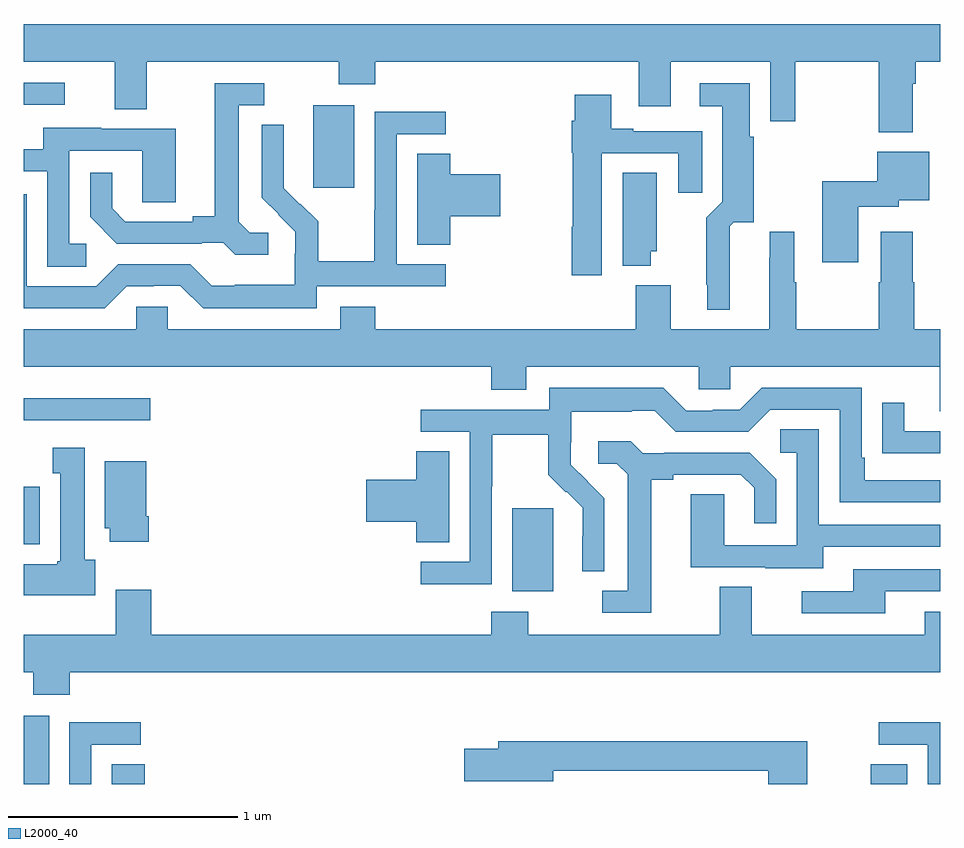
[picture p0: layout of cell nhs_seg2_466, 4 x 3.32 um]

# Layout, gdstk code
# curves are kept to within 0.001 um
import gdstk
lib = gdstk.Library(unit=1e-6, precision=1e-09)
def R(c, l, rs):  # rectangles x0, y0, x1, y1
    for r in rs: c.add(gdstk.rectangle(r[:2], r[2:], *l))
def P(c, l, *ps):  # polygons
    for p in ps: c.add(gdstk.Polygon(p, *l))
L2000_40 = (2000, 40)

nhs_seg2_466 = lib.new_cell('nhs_seg2_466')
R(nhs_seg2_466, L2000_40, [(133,661.8,133.111,662.098), (133.385,661.8,133.529,661.886), (136.697,661.8,136.855,661.886), (135.131,662.642,135.31,663.003), (133,662.846,133.071,663.097), (133,663.387,133.552,663.484), (134.264,664.401,134.443,664.762), (133,664.764,133.18,664.86)])
P(nhs_seg2_466, L2000_40, [(136.879,664.856),(136.892,664.856),(136.892,664.952),(137,664.952),(137,665.116),(133,665.116),(133,664.952),(133.397,664.952),(133.397,664.744),(133.537,664.744),(133.537,664.952),(134.374,664.952),(134.374,664.853),(134.534,664.853),(134.534,664.952),(135.683,664.952),(135.683,664.758),(135.823,664.758),(135.823,664.952),(136.257,664.952),(136.257,664.692),(136.366,664.692),(136.366,664.952),(136.732,664.952),(136.732,664.643),(136.879,664.643)],
  [(136.081,664.234),(136.098,664.251),(136.185,664.251),(136.186,664.623),(136.168,664.623),(136.168,664.858),(135.951,664.858),(135.951,664.757),(136.049,664.757),(136.049,664.34),(135.979,664.27),(135.979,663.979),(135.983,663.979),(135.983,663.869),(136.081,663.869)],
  [(134.068,664.206),(133.986,664.206),(133.939,664.253),(133.939,664.761),(134.05,664.761),(134.05,664.857),(133.835,664.857),(133.835,664.277),(133.739,664.277),(133.739,664.254),(133.444,664.254),(133.387,664.311),(133.387,664.468),(133.29,664.468),(133.29,664.274),(133.406,664.158),(133.778,664.158),(133.778,664.161),(133.872,664.161),(133.924,664.109),(134.068,664.109)],
  [(135.523,664.551),(135.857,664.551),(135.857,664.38),(135.961,664.38),(135.961,664.647),(135.661,664.647),(135.661,664.66),(135.565,664.66),(135.565,664.807),(135.404,664.807),(135.404,664.694),(135.392,664.694),(135.392,664.554),(135.397,664.554),(135.397,664.232),(135.392,664.232),(135.392,664.02),(135.523,664.02)],
  [(134.28,663.972),(134.842,663.972),(134.842,664.068),(134.628,664.068),(134.628,664.635),(134.842,664.635),(134.842,664.734),(134.532,664.734),(134.532,664.304),(134.53,664.304),(134.53,664.081),(134.285,664.081),(134.285,664.255),(134.208,664.332),(134.205,664.329),(134.135,664.4),(134.136,664.676),(134.04,664.676),(134.04,664.358),(134.186,664.21),(134.186,664.113),(134.184,664.113),(134.184,663.979),(133.921,663.979),(133.921,663.975),(133.821,663.975),(133.728,664.068),(133.413,664.068),(133.317,663.972),(133.014,663.972),(133.014,664.374),(133,664.374),(133,663.876),(133.353,663.876),(133.449,663.972),(133.568,663.972),(133.568,663.975),(133.683,663.975),(133.783,663.875),(134.28,663.875)],
  [(133.273,664.158),(133.2,664.158),(133.2,664.563),(133.518,664.563),(133.518,664.339),(133.663,664.339),(133.663,664.659),(133.339,664.659),(133.339,664.663),(133.085,664.663),(133.085,664.569),(133,664.569),(133,664.473),(133.104,664.473),(133.104,664.057),(133.273,664.057)],
  [(136.642,664.319),(136.818,664.319),(136.818,664.346),(136.951,664.346),(136.951,664.558),(136.724,664.558),(136.724,664.429),(136.484,664.429),(136.484,664.077),(136.642,664.077)],
  [(134.861,664.277),(135.079,664.277),(135.079,664.46),(134.861,664.46),(134.861,664.55),(134.717,664.55),(134.717,664.153),(134.861,664.153)],
  [(135.736,664.125),(135.763,664.125),(135.763,664.466),(135.614,664.466),(135.614,664.061),(135.736,664.061)],
  [(137,663.784),(136.887,663.784),(136.887,663.989),(136.879,663.989),(136.879,664.21),(136.739,664.21),(136.739,663.989),(136.732,663.989),(136.732,663.784),(136.371,663.784),(136.371,663.989),(136.363,663.989),(136.363,664.21),(136.255,664.21),(136.255,664.097),(136.253,664.097),(136.253,663.784),(135.823,663.784),(135.823,663.976),(135.671,663.976),(135.671,663.784),(134.534,663.784),(134.534,663.883),(134.381,663.883),(134.381,663.784),(133.629,663.784),(133.629,663.882),(133.491,663.882),(133.491,663.784),(133,663.784),(133,663.62),(135.041,663.62),(135.041,663.521),(135.193,663.521),(135.193,663.62),(135.945,663.62),(135.945,663.522),(136.083,663.522),(136.083,663.62),(136.997,663.62),(136.997,663.426),(137,663.426)],
  [(135.042,663.1),(135.045,663.1),(135.045,663.324),(135.289,663.324),(135.289,663.149),(135.366,663.072),(135.369,663.075),(135.44,663.005),(135.44,662.882),(135.438,662.882),(135.438,662.728),(135.534,662.728),(135.534,663.046),(135.388,663.194),(135.388,663.291),(135.39,663.291),(135.39,663.425),(135.653,663.425),(135.653,663.429),(135.753,663.429),(135.846,663.336),(136.161,663.336),(136.257,663.432),(136.56,663.432),(136.56,663.03),(137,663.03),(137,663.126),(136.669,663.126),(136.669,663.223),(136.656,663.223),(136.656,663.528),(136.221,663.528),(136.125,663.432),(136.007,663.432),(136.007,663.429),(135.891,663.429),(135.791,663.529),(135.294,663.529),(135.294,663.432),(134.733,663.432),(134.733,663.336),(134.946,663.336),(134.946,662.769),(134.733,662.769),(134.733,662.671),(135.042,662.671)],
  [(137,663.339),(136.843,663.339),(136.843,663.463),(136.747,663.463),(136.747,663.244),(136.849,663.244),(136.849,663.243),(137,663.243)],
  [(136.489,662.835),(137,662.835),(137,662.931),(136.47,662.931),(136.47,663.347),(136.302,663.347),(136.302,663.246),(136.374,663.246),(136.374,662.841),(136.056,662.841),(136.056,663.065),(135.911,663.065),(135.911,662.745),(136.235,662.745),(136.235,662.741),(136.489,662.741)],
  [(135.739,663.128),(135.835,663.128),(135.835,663.15),(136.13,663.15),(136.187,663.093),(136.187,662.937),(136.284,662.937),(136.284,663.13),(136.168,663.246),(135.796,663.246),(135.796,663.243),(135.702,663.243),(135.65,663.295),(135.507,663.295),(135.507,663.198),(135.588,663.198),(135.635,663.151),(135.635,662.643),(135.525,662.643),(135.525,662.547),(135.739,662.547)],
  [(133.312,662.778),(133.267,662.778),(133.267,663.268),(133.127,663.268),(133.127,663.155),(133.16,663.155),(133.16,662.772),(133.147,662.772),(133.147,662.758),(133,662.758),(133,662.624),(133.312,662.624)],
  [(134.857,663.251),(134.714,663.251),(134.714,663.128),(134.496,663.128),(134.496,662.945),(134.714,662.945),(134.714,662.854),(134.857,662.854)],
  [(133.547,662.968),(133.534,662.968),(133.534,663.208),(133.355,663.208),(133.355,662.916),(133.376,662.916),(133.376,662.856),(133.547,662.856)],
  [(136.759,662.64),(137,662.64),(137,662.736),(136.619,662.736),(136.619,662.64),(136.395,662.64),(136.395,662.544),(136.759,662.544)],
  [(133.202,662.288),(137,662.288),(137,662.551),(136.931,662.551),(136.931,662.452),(136.177,662.452),(136.177,662.66),(136.037,662.66),(136.037,662.452),(135.201,662.452),(135.201,662.551),(135.041,662.551),(135.041,662.452),(133.556,662.452),(133.556,662.647),(133.403,662.647),(133.403,662.452),(133,662.452),(133,662.288),(133.042,662.288),(133.042,662.189),(133.202,662.189)],
  [(137,662.07),(136.731,662.07),(136.731,661.971),(136.944,661.971),(136.944,661.8),(137,661.8)],
  [(133.296,661.971),(133.51,661.971),(133.51,662.07),(133.2,662.07),(133.2,661.8),(133.296,661.8)],
  [(136.42,661.987),(135.071,661.987),(135.071,661.953),(134.922,661.953),(134.922,661.811),(135.31,661.811),(135.31,661.858),(136.25,661.858),(136.25,661.8),(136.42,661.8)])

lib.write_gds('nhs_seg2_466.gds')
